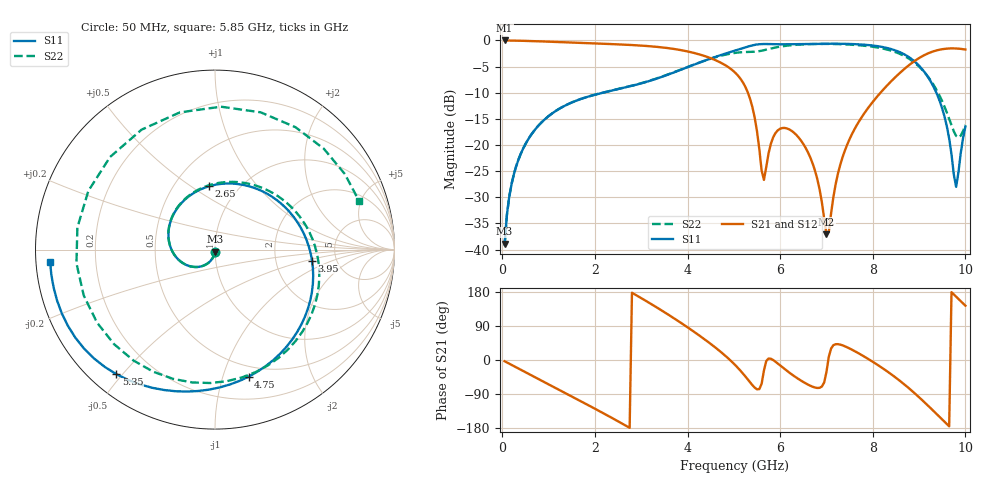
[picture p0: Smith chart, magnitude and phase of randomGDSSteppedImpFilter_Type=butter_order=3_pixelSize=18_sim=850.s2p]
! freq	dB(S11)	phase(S11)	dB(S12)	phase(S12)
!  dB(S21)	phase(S21)	dB(S22)	phase(S22)
!S-par simulation data
#  GHz  S  DB  R 50
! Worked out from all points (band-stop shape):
!   200 points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, 50 MHz to 10 GHz, reference 50 ohm
!   highest |S21| = 0.00 dB at 50 MHz (marker M1); lowest = -37.0 dB at 7 GHz (marker M2)
!   |S21| within 3 dB of the highest: start of sweep to 4.376 GHz; 9.072 GHz to end of sweep
!   lowest |S11| = -38.9 dB at 50 MHz (marker M3), VSWR 1.02, Z = 49.9 - j1.13 ohm
!   |S11| at or under -10 dB: start of sweep to 2.173 GHz; 9.372 GHz to end of sweep
!   |S22| runs from -39.4 to -0.7 dB; largest |S21 - S12| = 0
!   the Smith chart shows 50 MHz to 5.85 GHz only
!   S11 on the Smith chart (normalised r, x): 50 MHz: 1.00, -0.02; 2.65 GHz: 0.73, +0.59; 3.95 GHz: 3.28, -0.57; 4.75 GHz: 0.40, -1.22; 5.35 GHz: 0.08, -0.48; 5.85 GHz: 0.04, -0.04
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0.05  -38.90 -92.9  -0.00 -3.3  -0.00 -3.3  -39.35 -93.5
0.2  -27.49 -103.5  -0.02 -12.9  -0.02 -12.9  -27.46 -103.5
0.5  -19.82 -122.9  -0.09 -32.2  -0.09 -32.2  -19.83 -123.0
1.75  -11.04 156.8  -0.49 -112.3  -0.49 -112.3  -11.03 157.1
2.65  -9.01 95.5  -0.81 -172.1  -0.81 -172.1  -8.99 98.9
3.4  -7.11 38.7  -1.28 133.9  -1.28 133.9  -7.07 47.7
3.95  -5.29 -6.5  -2.01 90.5  -2.01 90.5  -5.25 6.1
4.75  -2.71 -75.2  -4.40 18.1  -4.40 18.1  -2.87 -71.6
5.05  -1.87 -101.2  -6.35 -15.9  -6.35 -15.9  -2.36 -116.7
5.35  -1.06 -128.3  -11.16 -58.8  -11.16 -58.8  -2.20 170.9
5.6  -0.69 -152.7  -24.89 -62.9  -24.89 -62.9  -1.97 87.6
5.85  -0.71 -175.8  -18.52 -0.2  -18.52 -0.2  -1.44 18.6
6.25  -0.72 149.9  -17.31 -38.0  -17.31 -38.0  -0.91 -45.1
6.7  -0.66 111.7  -23.51 -70.5  -23.51 -70.5  -0.69 -88.1
7  -0.63 86.5  -37.05 -31.5  -37.05 -31.5  -0.67 -111.1
7.45  -0.66 49.4  -19.88 33.4  -19.88 33.4  -0.77 -143.1
8.35  -1.54 -22.6  -8.24 -33.4  -8.24 -33.4  -1.84 145.1
8.75  -3.02 -55.3  -4.96 -71.3  -4.96 -71.3  -3.32 102.3
9.2  -7.12 -91.4  -2.45 -121.3  -2.45 -121.3  -7.03 43.5
9.55  -14.59 -111.8  -1.61 -163.0  -1.61 -163.0  -12.69 0.5
9.8  -28.01 -49.5  -1.54 167.0  -1.54 167.0  -18.26 1.9
10  -16.48 8.4  -1.74 143.3  -1.74 143.3  -16.17 24.8
